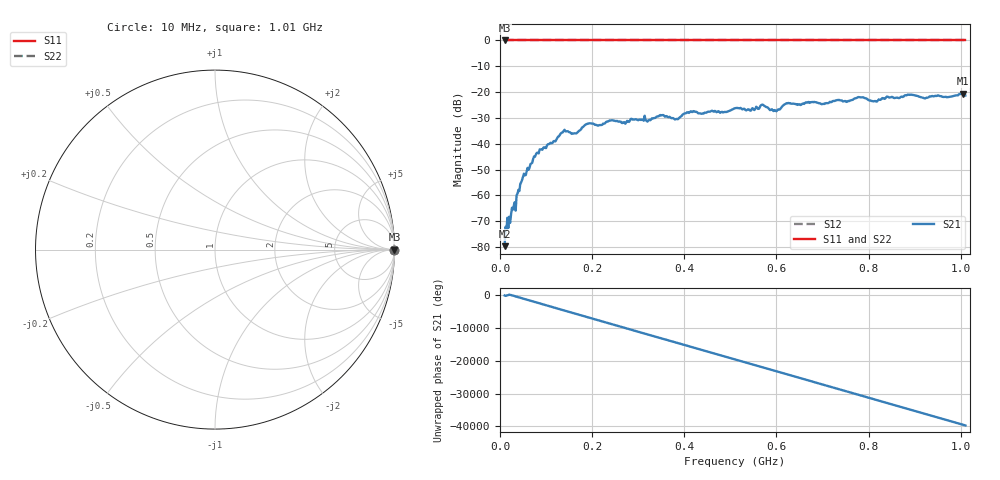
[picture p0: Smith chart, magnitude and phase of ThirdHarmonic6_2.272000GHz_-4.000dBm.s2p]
! 8/17/2025 2:52:51 AM
! C:\ANRITSUVNA\TEMP\TEMP.S2P
! CHANNEL.1
! TR.MEASUREMENT
! RAW.DATA
! RF.CORRECTION.OFF
! AVERAGING.OFF
! IF.BANDWIDTH: 5KHZ
! SWEEPTYPE:  FREQ.SWEEP(Linear)
! Reference Plane Port Info
! PORT:  PORT1  PORT2
! DISTANCE:  0  m  0  m
! TIME:  0  s  0  s
! PHASE.OFFSET:  0  deg.  0  deg.
! LOSS:  0  dB  0  dB
! REF.LOSS:  0  dB  0  dB
! REF.FREQ:  0  Hz  0  Hz
! Power Info
! POWER:  -20  dBm  -20  dBm
! EFF.POWER:  -20  dBm  -20  dBm
! SOURCE.ATTEN:  0  dB  0  dB
! TEST.ATTEN:  0  dB  0  dB
# GHZ S RI R 50.0
! FREQ.GHZ  S11RE  S11IM  S21RE  S21IM  S12RE  S12IM  S22RE  S22IM
!; PortSelection: Port_12
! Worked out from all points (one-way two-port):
!   501 points, 10 MHz to 1.01 GHz, reference 50 ohm
!   highest |S21| = -20.61 dB at 1.004 GHz (marker M1); lowest = -79.6 dB at 10 MHz (marker M2)
!   lowest |S11| = 0.0 dB at 10 MHz (marker M3)
!   |S11| at or under -10 dB: nowhere
!   |S22| runs from 0.0 to 0.0 dB; largest |S21 - S12| = 1.1
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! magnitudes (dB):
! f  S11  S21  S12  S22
! 10 MHz  0.0  -79.6  0.0  0.0
! 16 MHz  0.0  -68.6  0.0  0.0
! 48 MHz  0.0  -53.9  0.0  0.0
! 76 MHz  0.0  -45.0  0.0  0.0
! 136 MHz  0.0  -35.6  0.0  0.0
! 162 MHz  0.0  -35.9  0.0  0.0
! 178 MHz  0.0  -33.7  0.0  0.0
! 192 MHz  0.0  -32.1  0.0  0.0
! 322 MHz  0.0  -31.0  0.0  0.0
! 344 MHz  0.0  -29.4  0.0  0.0
! 382 MHz  0.0  -30.5  0.0  0.0
! 410 MHz  0.0  -28.0  0.0  0.0
! 510 MHz  0.0  -26.2  0.0  0.0
! 570 MHz  0.0  -24.8  0.0  0.0
! 598 MHz  0.0  -27.2  0.0  0.0
! 622 MHz  0.0  -24.3  0.0  0.0
! 678 MHz  0.0  -23.8  0.0  0.0
! 782 MHz  0.0  -22.0  0.0  0.0
! 814 MHz  0.0  -23.4  0.0  0.0
! 844 MHz  0.0  -22.0  0.0  0.0
! 1.004 GHz  0.0  -20.6  0.0  0.0
! 1.01 GHz  0.0  -21.3  0.0  0.0
